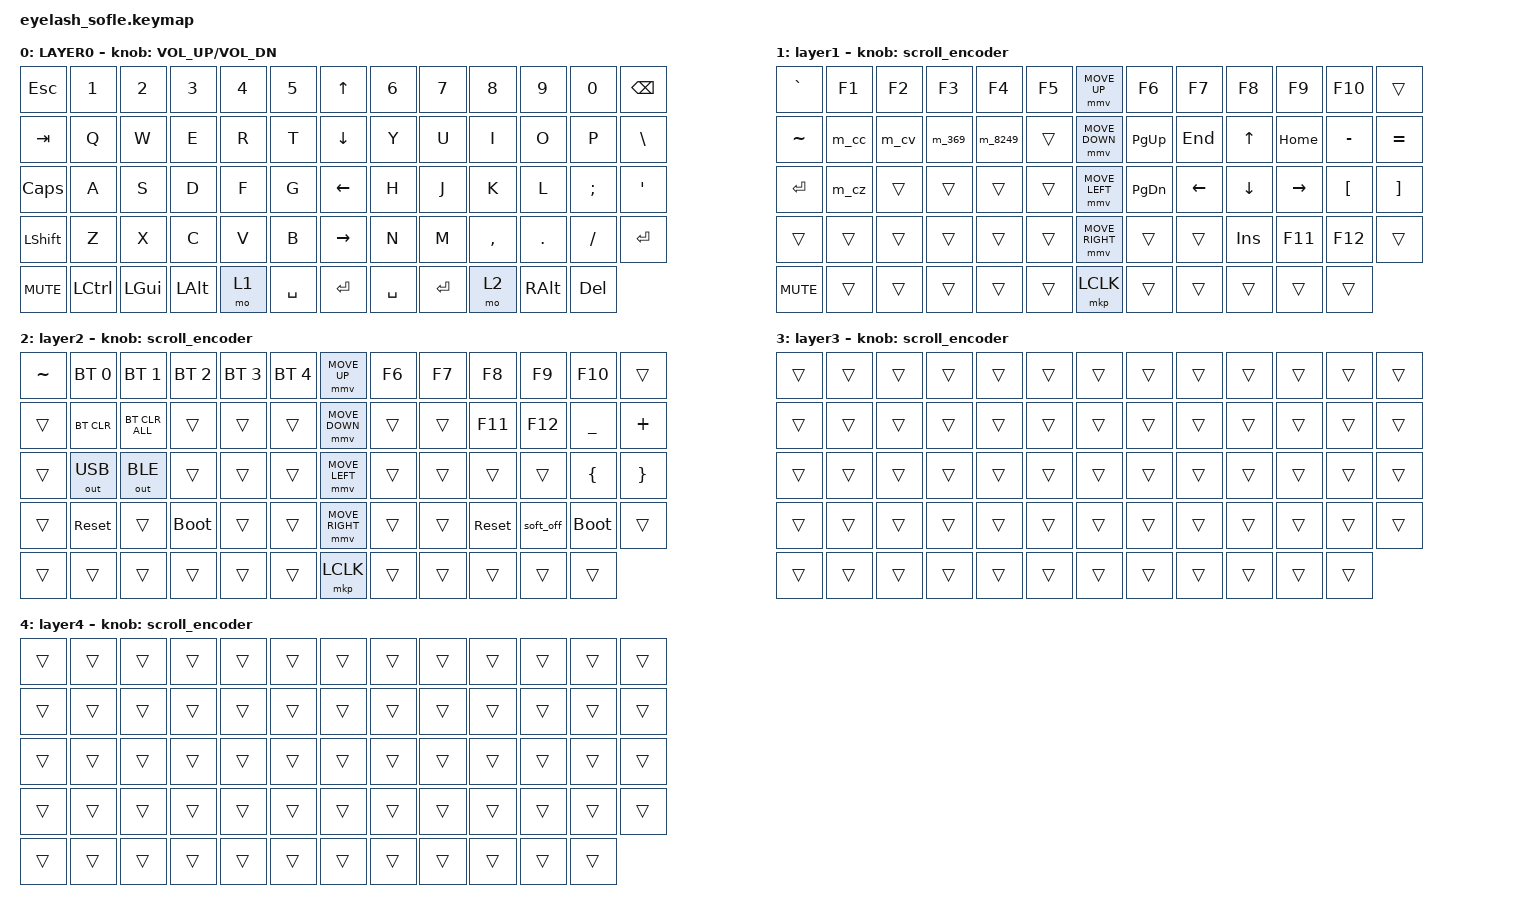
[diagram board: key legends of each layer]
#define ZMK_POINTING_DEFAULT_MOVE_VAL 1200  // 600
#define ZMK_POINTING_DEFAULT_SCRL_VAL 25   // 10

#include <input/processors.dtsi>
#include <zephyr/dt-bindings/input/input-event-codes.h>
#include <behaviors.dtsi>
#include <dt-bindings/zmk/bt.h>
#include <dt-bindings/zmk/keys.h>
#include <dt-bindings/zmk/outputs.h>
#include <dt-bindings/zmk/pointing.h>

&mmv_input_listener { input-processors = <&zip_xy_scaler 2 1>; };

&msc_input_listener { input-processors = <&zip_scroll_scaler 2 1>; };

&msc {
    acceleration-exponent = <1>;      // 0
    time-to-max-speed-ms = <100>;       // 300
    delay-ms = <0>;                   // 0
};

&mmv {
    time-to-max-speed-ms = <500>;
    acceleration-exponent = <1>;
    trigger-period-ms = <16>;
};

&soft_off { hold-time-ms = <2000>; };

/ {
    scroll_encoder: scroll_encoder {
        compatible = "zmk,behavior-sensor-rotate";
        #sensor-binding-cells = <0>;
        bindings = <&msc SCRL_DOWN>, <&msc SCRL_UP>;

        tap-ms = <100>;
    };

    behaviors {
    };

    combos { compatible = "zmk,combos"; };

    macros {
        m_369: m_369 {
            compatible = "zmk,behavior-macro";
            #binding-cells = <0>;
            bindings = <&kp NUMBER_3 &kp NUMBER_6 &kp N9>;
            label = "M_369";
        };

        m_8249: m_8249 {
            compatible = "zmk,behavior-macro";
            #binding-cells = <0>;
            bindings = <&kp N8 &kp N2 &kp N4 &kp N9>;
            label = "M_8249";
        };

        m_cc: m_cc {
            compatible = "zmk,behavior-macro";
            #binding-cells = <0>;
            bindings = <&kp LC(C)>;
            label = "M_CC";
        };

        m_cv: m_cv {
            compatible = "zmk,behavior-macro";
            #binding-cells = <0>;
            bindings = <&kp LC(V)>;
            label = "M_CV";
        };

        m_cz: m_cz {
            compatible = "zmk,behavior-macro";
            #binding-cells = <0>;
            bindings = <&kp LC(Z)>;
            label = "M_CZ";
        };
    };

    keymap {
        compatible = "zmk,keymap";

        layer0 {
            bindings = <
&kp ESC     &kp N1     &kp N2        &kp N3        &kp N4  &kp N5       &kp UP_ARROW     &kp N6     &kp N7     &kp N8     &kp N9         &kp N0      &kp BACKSPACE
&kp TAB     &kp Q      &kp W         &kp E         &kp R   &kp T        &kp DOWN_ARROW   &kp Y      &kp U      &kp I      &kp O          &kp P       &kp BSLH
&kp CAPS    &kp A      &kp S         &kp D         &kp F   &kp G        &kp LEFT_ARROW   &kp H      &kp J      &kp K      &kp L          &kp SEMI    &kp APOS
&kp LSHFT   &kp Z      &kp X         &kp C         &kp V   &kp B        &kp RIGHT_ARROW  &kp N      &kp M      &kp COMMA  &kp DOT        &kp FSLH    &kp ENTER
&kp C_MUTE  &kp LCTRL  &kp LEFT_GUI  &kp LEFT_ALT  &mo 1   &kp SPACE    &kp ENTER        &kp SPACE  &kp ENTER  &mo 2      &kp RIGHT_ALT  &kp DELETE
            >;

            sensor-bindings = <&inc_dec_kp C_VOLUME_UP C_VOL_DN>;
            display-name = "LAYER0";
        };

        layer_1 {
            bindings = <
&kp GRAVE   &kp F1  &kp F2  &kp F3  &kp F4   &kp F5    &mmv MOVE_UP     &kp F6     &kp F7    &kp F8      &kp F9     &kp F10           &trans
&kp TILDE   &m_cc   &m_cv   &m_369  &m_8249  &trans    &mmv MOVE_DOWN   &kp PG_UP  &kp END   &kp UP      &kp HOME   &kp MINUS         &kp EQUAL
&kp ENTER   &m_cz   &trans  &trans  &trans   &trans    &mmv MOVE_LEFT   &kp PG_DN  &kp LEFT  &kp DOWN    &kp RIGHT  &kp LEFT_BRACKET  &kp RIGHT_BRACKET
&trans      &trans  &trans  &trans  &trans   &trans    &mmv MOVE_RIGHT  &trans     &trans    &kp INSERT  &kp F11    &kp F12           &trans
&kp C_MUTE  &trans  &trans  &trans  &trans   &trans    &mkp LCLK        &trans     &trans    &trans      &trans     &trans
            >;

            display-name = "layer1";
            sensor-bindings = <&scroll_encoder>;
        };

        layer_2 {
            bindings = <
&kp TILDE  &bt BT_SEL 0  &bt BT_SEL 1    &bt BT_SEL 2  &bt BT_SEL 3  &bt BT_SEL 4    &mmv MOVE_UP     &kp F6  &kp F7  &kp F8      &kp F9     &kp F10      &trans
&trans     &bt BT_CLR    &bt BT_CLR_ALL  &trans        &trans        &trans          &mmv MOVE_DOWN   &trans  &trans  &kp F11     &kp F12    &kp UNDER    &kp PLUS
&trans     &out OUT_USB  &out OUT_BLE    &trans        &trans        &trans          &mmv MOVE_LEFT   &trans  &trans  &trans      &trans     &kp LBRC     &kp RBRC
&trans     &sys_reset    &trans          &bootloader   &trans        &trans          &mmv MOVE_RIGHT  &trans  &trans  &sys_reset  &soft_off  &bootloader  &trans
&trans     &trans        &trans          &trans        &trans        &trans          &mkp LCLK        &trans  &trans  &trans      &trans     &trans
            >;

            display-name = "layer2";
            sensor-bindings = <&scroll_encoder>;
        };

        layer_3 {
            bindings = <
&trans  &trans  &trans  &trans  &trans  &trans    &trans  &trans  &trans  &trans  &trans  &trans  &trans
&trans  &trans  &trans  &trans  &trans  &trans    &trans  &trans  &trans  &trans  &trans  &trans  &trans
&trans  &trans  &trans  &trans  &trans  &trans    &trans  &trans  &trans  &trans  &trans  &trans  &trans
&trans  &trans  &trans  &trans  &trans  &trans    &trans  &trans  &trans  &trans  &trans  &trans  &trans
&trans  &trans  &trans  &trans  &trans  &trans    &trans  &trans  &trans  &trans  &trans  &trans
            >;

            display-name = "layer3";
            sensor-bindings = <&scroll_encoder>;
        };

        layer_4 {
            bindings = <
&trans  &trans  &trans  &trans  &trans  &trans    &trans  &trans  &trans  &trans  &trans  &trans  &trans
&trans  &trans  &trans  &trans  &trans  &trans    &trans  &trans  &trans  &trans  &trans  &trans  &trans
&trans  &trans  &trans  &trans  &trans  &trans    &trans  &trans  &trans  &trans  &trans  &trans  &trans
&trans  &trans  &trans  &trans  &trans  &trans    &trans  &trans  &trans  &trans  &trans  &trans  &trans
&trans  &trans  &trans  &trans  &trans  &trans    &trans  &trans  &trans  &trans  &trans  &trans
            >;

            display-name = "layer4";
            sensor-bindings = <&scroll_encoder>;
        };
    };
};
